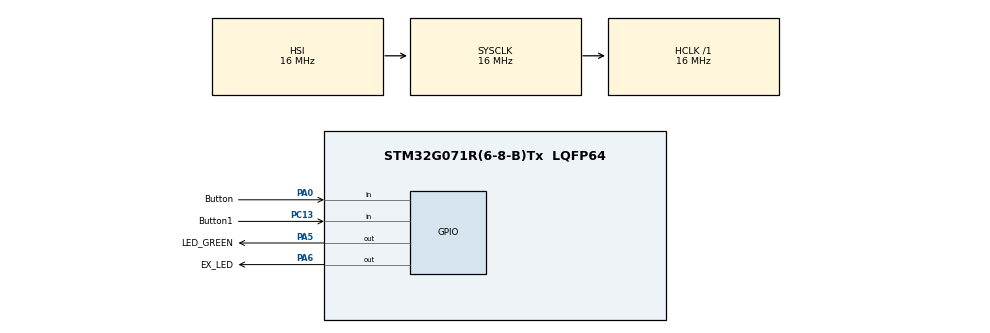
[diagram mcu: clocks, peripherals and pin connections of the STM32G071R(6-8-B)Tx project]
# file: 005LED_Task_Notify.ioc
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Mcu.Family=STM32G0
Mcu.Name=STM32G071R(6-8-B)Tx
Mcu.Package=LQFP64
NVIC.TIM6_DAC_LPTIM1_IRQn=true\:3\:0\:false\:false\:true\:false\:true
NVIC.TimeBase=TIM6_DAC_LPTIM1_IRQn
NVIC.TimeBaseIP=TIM6
PA0.GPIO_Label=Button
PA0.Signal=GPIO_Input
PA13.GPIO_Label=TMS
PA13.Signal=SYS_SWDIO
PA14-BOOT0.GPIO_Label=TCK
PA14-BOOT0.Signal=SYS_SWCLK
PA2.GPIO_Label=USART2_TX [STLK_TX]
PA2.Signal=USART2_TX
PA3.GPIO_Label=USART2_RX [STLK_RX]
PA3.Signal=USART2_RX
PA5.GPIO_Label=LED_GREEN
PA5.GPIO_Speed=GPIO_SPEED_FREQ_HIGH
PA5.Signal=GPIO_Output
PA6.GPIO_Label=EX_LED
PA6.Signal=GPIO_Output
PC13.GPIO_Label=Button1
PC13.Signal=GPIO_Input
PC14-OSC32_IN\ (PC14).Signal=RCC_OSC32_IN
PC15-OSC32_OUT\ (PC15).Signal=RCC_OSC32_OUT
PF0-OSC_IN\ (PF0).GPIO_Label=MCO
PF0-OSC_IN\ (PF0).Signal=RCC_OSC_IN
ProjectManager.HeapSize=0x200
ProjectManager.StackSize=0x400
ProjectManager.TargetToolchain=STM32CubeIDE
RCC.AHBFreq_Value=16000000
RCC.CortexFreq_Value=16000000
RCC.EXTERNAL_CLOCK_VALUE=12288000
RCC.HCLKFreq_Value=16000000
RCC.HSE_VALUE=8000000
RCC.HSI_VALUE=16000000
RCC.LSE_VALUE=32768
RCC.SYSCLKFreq_VALUE=16000000
RCC.VCOOutputFreq_Value=128000000
VP_SYS_VS_DBSignals.Mode=DisableDeadBatterySignals
VP_SYS_VS_tim6.Mode=TIM6
board=NUCLEO-G071RB

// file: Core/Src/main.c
/* USER CODE BEGIN Header */
/**
  ******************************************************************************
  * @file           : main.c
  * @brief          : Main program body
  ******************************************************************************
  * @attention
  *
  * <h2><center>&copy; Copyright (c) 2023 STMicroelectronics.
  * All rights reserved.</center></h2>
  *
  * This software component is licensed by ST under BSD 3-Clause license,
  * the "License"; You may not use this file except in compliance with the
  * License. You may obtain a copy of the License at:
  *                        opensource.org/licenses/BSD-3-Clause
  *
  ******************************************************************************
  */
/* USER CODE END Header */
#include "main.h"

/* USER CODE BEGIN Includes */
#include "FreeRTOS.h"
#include "task.h"
/* USER CODE END Includes */

/* USER CODE BEGIN PV */
	TaskHandle_t task1_handle;
	TaskHandle_t task2_handle;
	TaskHandle_t button_task_handle;

	TaskHandle_t volatile next_task_handle = NULL;

/* USER CODE END PV */

void SystemClock_Config(void);
static void MX_GPIO_Init(void);
/* USER CODE BEGIN PFP */

static void Taskfunc1(void *parameters);
static void Taskfunc2(void *parameters);
static void button_func(void *parameters);
/* USER CODE END PFP */

int main(void)
{
  /* USER CODE BEGIN 1 */

	BaseType_t status;

  /* USER CODE END 1 */

  /* MCU Configuration--------------------------------------------------------*/

  /* Reset of all peripherals, Initializes the Flash interface and the Systick. */
  HAL_Init();

  /* Configure the system clock */
  SystemClock_Config();

  /* Initialize all configured peripherals */
  MX_GPIO_Init();
  /* USER CODE BEGIN 2 */

  status = xTaskCreate(Taskfunc1,"Task-1",200,NULL,2,&task1_handle);
  configASSERT(status = pdPASS);

  next_task_handle = task1_handle;

  status = xTaskCreate(Taskfunc2,"Task-2",200,NULL,1,&task2_handle);
  configASSERT(status = pdPASS);

  status = xTaskCreate(button_func,"Button Task",200,NULL,3,&button_task_handle);
  configASSERT(status = pdPASS);

  vTaskStartScheduler();

  /* USER CODE END 2 */

  /* Infinite loop */
  while (1)
  {

  }
}

void SystemClock_Config(void)
{
  RCC_OscInitTypeDef RCC_OscInitStruct = {0};
  RCC_ClkInitTypeDef RCC_ClkInitStruct = {0};

  /** Configure the main internal regulator output voltage
  */
  HAL_PWREx_ControlVoltageScaling(PWR_REGULATOR_VOLTAGE_SCALE1);
  /** Initializes the RCC Oscillators according to the specified parameters
  * in the RCC_OscInitTypeDef structure.
  */
  RCC_OscInitStruct.OscillatorType = RCC_OSCILLATORTYPE_HSI;
  RCC_OscInitStruct.HSIState = RCC_HSI_ON;
  RCC_OscInitStruct.HSIDiv = RCC_HSI_DIV1;
  RCC_OscInitStruct.HSICalibrationValue = RCC_HSICALIBRATION_DEFAULT;
  RCC_OscInitStruct.PLL.PLLState = RCC_PLL_NONE;
  if (HAL_RCC_OscConfig(&RCC_OscInitStruct) != HAL_OK)
  {
    Error_Handler();
  }
  /** Initializes the CPU, AHB and APB buses clocks
  */
  RCC_ClkInitStruct.ClockType = RCC_CLOCKTYPE_HCLK|RCC_CLOCKTYPE_SYSCLK
                              |RCC_CLOCKTYPE_PCLK1;
  RCC_ClkInitStruct.SYSCLKSource = RCC_SYSCLKSOURCE_HSI;
  RCC_ClkInitStruct.AHBCLKDivider = RCC_SYSCLK_DIV1;
  RCC_ClkInitStruct.APB1CLKDivider = RCC_HCLK_DIV1;

  if (HAL_RCC_ClockConfig(&RCC_ClkInitStruct, FLASH_LATENCY_0) != HAL_OK)
  {
    Error_Handler();
  }
}

static void MX_GPIO_Init(void)
{
  GPIO_InitTypeDef GPIO_InitStruct = {0};

  /* GPIO Ports Clock Enable */
  __HAL_RCC_GPIOC_CLK_ENABLE();
  __HAL_RCC_GPIOF_CLK_ENABLE();
  __HAL_RCC_GPIOA_CLK_ENABLE();

  /*Configure GPIO pin Output Level */
  HAL_GPIO_WritePin(GPIOA, LED_GREEN_Pin|EX_LED_Pin, GPIO_PIN_RESET);

  /*Configure GPIO pin : Button1_Pin */
  GPIO_InitStruct.Pin = Button1_Pin;
  GPIO_InitStruct.Mode = GPIO_MODE_INPUT;
  GPIO_InitStruct.Pull = GPIO_NOPULL;
  HAL_GPIO_Init(Button1_GPIO_Port, &GPIO_InitStruct);

  /*Configure GPIO pin : Button_Pin */
  GPIO_InitStruct.Pin = Button_Pin;
  GPIO_InitStruct.Mode = GPIO_MODE_INPUT;
  GPIO_InitStruct.Pull = GPIO_NOPULL;
  HAL_GPIO_Init(Button_GPIO_Port, &GPIO_InitStruct);

  /*Configure GPIO pins : USART2_TX_Pin USART2_RX_Pin */
  GPIO_InitStruct.Pin = USART2_TX_Pin|USART2_RX_Pin;
  GPIO_InitStruct.Mode = GPIO_MODE_AF_PP;
  GPIO_InitStruct.Pull = GPIO_NOPULL;
  GPIO_InitStruct.Speed = GPIO_SPEED_FREQ_LOW;
  GPIO_InitStruct.Alternate = GPIO_AF1_USART2;
  HAL_GPIO_Init(GPIOA, &GPIO_InitStruct);

  /*Configure GPIO pin : LED_GREEN_Pin */
  GPIO_InitStruct.Pin = LED_GREEN_Pin;
  GPIO_InitStruct.Mode = GPIO_MODE_OUTPUT_PP;
  GPIO_InitStruct.Pull = GPIO_NOPULL;
  GPIO_InitStruct.Speed = GPIO_SPEED_FREQ_HIGH;
  HAL_GPIO_Init(LED_GREEN_GPIO_Port, &GPIO_InitStruct);

  /*Configure GPIO pin : EX_LED_Pin */
  GPIO_InitStruct.Pin = EX_LED_Pin;
  GPIO_InitStruct.Mode = GPIO_MODE_OUTPUT_PP;
  GPIO_InitStruct.Pull = GPIO_NOPULL;
  GPIO_InitStruct.Speed = GPIO_SPEED_FREQ_LOW;
  HAL_GPIO_Init(EX_LED_GPIO_Port, &GPIO_InitStruct);

}

/* USER CODE BEGIN 4 */

static void Taskfunc1(void *parameters)
{
	BaseType_t status;
	while(1)
	{
		HAL_GPIO_TogglePin(EX_LED_GPIO_Port, EX_LED_Pin);
		status = xTaskNotifyWait(0,0,NULL,pdMS_TO_TICKS(1000));

		if(status == pdTRUE)
		{
			vTaskSuspendAll();
			next_task_handle = task2_handle;
			xTaskResumeAll();
			HAL_GPIO_WritePin(GPIOA,EX_LED_Pin,GPIO_PIN_SET);
			vTaskDelete(NULL);
		}
	}
}

static void Taskfunc2(void *parameters)
{
	BaseType_t status;
	while(1)
	{

		HAL_GPIO_TogglePin(LED_GREEN_GPIO_Port, LED_GREEN_Pin);
		status = xTaskNotifyWait(0,0,NULL,pdMS_TO_TICKS(500));
		if(status == pdTRUE)
		{
			vTaskSuspendAll();
			next_task_handle = NULL;
		    xTaskResumeAll();
			HAL_GPIO_WritePin(GPIOA,LED_GREEN_Pin,GPIO_PIN_SET);
			vTaskDelete(NULL);
		}
	}
}

static void button_func(void *parameters)
{
	uint8_t btn_read = 1;
	uint8_t prev_read = 1;

	while(1)
	{
		btn_read = HAL_GPIO_ReadPin(Button1_GPIO_Port, Button1_Pin);
		if(!btn_read)
		{
			if(prev_read)
				xTaskNotify(next_task_handle,0,eNoAction);
		}
		prev_read = btn_read;
		vTaskDelay(pdMS_TO_TICKS(10));
	}

}
/* USER CODE END 4 */

void HAL_TIM_PeriodElapsedCallback(TIM_HandleTypeDef *htim)
{
  if (htim->Instance == TIM6) {
    HAL_IncTick();
  }
}

void Error_Handler(void)
{
  __disable_irq();
  while (1)
  {
  }
}

/************************ (C) COPYRIGHT STMicroelectronics *****END OF FILE****/
